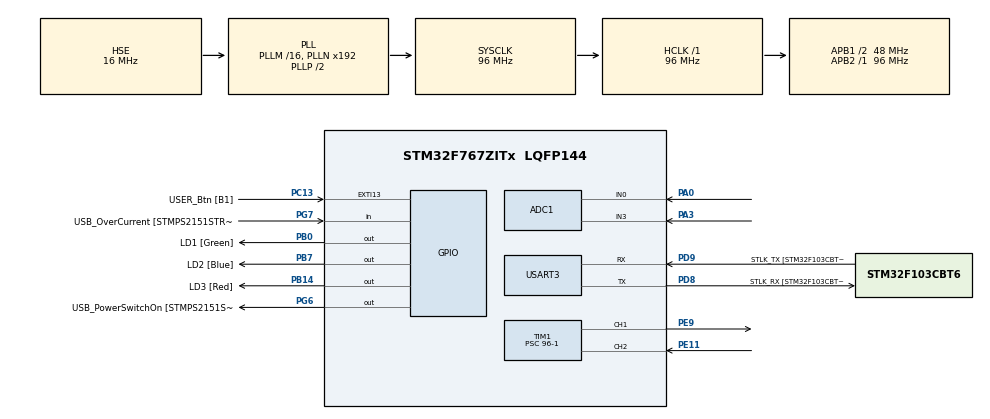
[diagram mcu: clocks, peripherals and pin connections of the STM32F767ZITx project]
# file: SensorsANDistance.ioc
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ADC1.Channel-0\#ChannelRegularConversion=ADC_CHANNEL_0
ADC1.Channel-2\#ChannelRegularConversion=ADC_CHANNEL_3
ADC1.ClockPrescaler=ADC_CLOCK_SYNC_PCLK_DIV4
ADC1.ContinuousConvMode=DISABLE
ADC1.NbrOfConversion=2
ADC1.NbrOfConversionFlag=1
ADC1.Rank-0\#ChannelRegularConversion=1
ADC1.Rank-2\#ChannelRegularConversion=2
ADC1.SamplingTime-0\#ChannelRegularConversion=ADC_SAMPLETIME_28CYCLES
ADC1.SamplingTime-2\#ChannelRegularConversion=ADC_SAMPLETIME_28CYCLES
ADC1.ScanConvMode=ADC_SCAN_ENABLE
ADC1.master=1
Mcu.Family=STM32F7
Mcu.Name=STM32F767ZITx
Mcu.Package=LQFP144
NVIC.ADC_IRQn=true\:0\:0\:false\:false\:true\:true\:true\:true
NVIC.EXTI15_10_IRQn=true\:0\:0\:false\:false\:true\:true\:true\:true
NVIC.PriorityGroup=NVIC_PRIORITYGROUP_4
NVIC.RCC_IRQn=true\:0\:0\:false\:false\:true\:true\:false\:true
NVIC.TIM1_CC_IRQn=true\:0\:0\:false\:false\:true\:true\:true\:true
NVIC.TIM1_TRG_COM_TIM11_IRQn=true\:0\:0\:false\:false\:true\:true\:true\:true
NVIC.TIM1_UP_TIM10_IRQn=true\:0\:0\:false\:false\:true\:true\:true\:true
NVIC.USART3_IRQn=true\:0\:0\:false\:false\:true\:true\:true\:true
PA0/WKUP.Signal=ADCx_IN0
PA1.GPIO_Label=RMII_REF_CLK [LAN8742A-CZ-TR_REFCLK0]
PA1.Signal=ETH_REF_CLK
PA10.GPIO_Label=USB_ID
PA10.Signal=USB_OTG_FS_ID
PA11.GPIO_Label=USB_DM
PA11.Signal=USB_OTG_FS_DM
PA12.GPIO_Label=USB_DP
PA12.Signal=USB_OTG_FS_DP
PA13.GPIO_Label=TMS
PA13.Signal=SYS_JTMS-SWDIO
PA14.GPIO_Label=TCK
PA14.Signal=SYS_JTCK-SWCLK
PA2.GPIO_Label=RMII_MDIO [LAN8742A-CZ-TR_MDIO]
PA2.Signal=ETH_MDIO
PA3.Signal=ADCx_IN3
PA7.GPIO_Label=RMII_CRS_DV [LAN8742A-CZ-TR_CRS_DV]
PA7.Signal=ETH_CRS_DV
PA8.GPIO_Label=USB_SOF [TP1]
PA8.Signal=USB_OTG_FS_SOF
PA9.GPIO_Label=USB_VBUS
PA9.Signal=USB_OTG_FS_VBUS
PB0.GPIO_Label=LD1 [Green]
PB0.Signal=GPIO_Output
PB13.GPIO_Label=RMII_TXD1 [LAN8742A-CZ-TR_TXD1]
PB13.Signal=ETH_TXD1
PB14.GPIO_Label=LD3 [Red]
PB14.Signal=GPIO_Output
PB3.GPIO_Label=SW0
PB3.Signal=SYS_JTDO-SWO
PB7.GPIO_Label=LD2 [Blue]
PB7.Signal=GPIO_Output
PC1.GPIO_Label=RMII_MDC [LAN8742A-CZ-TR_MDC]
PC1.Signal=ETH_MDC
PC13.GPIO_Label=USER_Btn [B1]
PC13.Signal=GPXTI13
PC14/OSC32_IN.Signal=RCC_OSC32_IN
PC15/OSC32_OUT.Signal=RCC_OSC32_OUT
PC4.GPIO_Label=RMII_RXD0 [LAN8742A-CZ-TR_RXD0]
PC4.Signal=ETH_RXD0
PC5.GPIO_Label=RMII_RXD1 [LAN8742A-CZ-TR_RXD1]
PC5.Signal=ETH_RXD1
PD8.GPIO_Label=STLK_RX [STM32F103CBT6_PA3]
PD8.Mode=Asynchronous
PD8.Signal=USART3_TX
PD9.GPIO_Label=STLK_TX [STM32F103CBT6_PA2]
PD9.Mode=Asynchronous
PD9.Signal=USART3_RX
PE11.Signal=S_TIM1_CH2
PE9.Signal=S_TIM1_CH1
PG11.GPIO_Label=RMII_TX_EN [LAN8742A-CZ-TR_TXEN]
PG11.Signal=ETH_TX_EN
PG13.GPIO_Label=RMII_TXD0 [LAN8742A-CZ-TR_TXD0]
PG13.Signal=ETH_TXD0
PG6.GPIO_Label=USB_PowerSwitchOn [STMPS2151STR_EN]
PG6.Signal=GPIO_Output
PG7.GPIO_Label=USB_OverCurrent [STMPS2151STR_FAULT]
PG7.Signal=GPIO_Input
PH0/OSC_IN.GPIO_Label=MCO [STM32F103CBT6_PA8]
PH0/OSC_IN.Mode=HSE-External-Oscillator
PH0/OSC_IN.Signal=RCC_OSC_IN
PH1/OSC_OUT.Mode=HSE-External-Oscillator
PH1/OSC_OUT.Signal=RCC_OSC_OUT
ProjectManager.HeapSize=0x200
ProjectManager.StackSize=0x400
ProjectManager.TargetToolchain=STM32CubeIDE
RCC.48MHZClocksFreq_Value=24000000
RCC.AHBFreq_Value=96000000
RCC.APB1CLKDivider=RCC_HCLK_DIV2
RCC.APB1Freq_Value=48000000
RCC.APB1TimFreq_Value=96000000
RCC.APB2Freq_Value=96000000
RCC.APB2TimFreq_Value=96000000
RCC.CortexFreq_Value=96000000
RCC.HCLKFreq_Value=96000000
RCC.HSE_VALUE=16000000
RCC.HSI_VALUE=16000000
RCC.LSE_VALUE=32768
RCC.PLLMUL=RCC_PLL_MUL9
RCC.PLLSourceVirtual=RCC_PLLSOURCE_HSE
RCC.PRESCALERUSB=RCC_USBCLKSOURCE_PLL_DIV1_5
RCC.SYSCLKFreq_VALUE=96000000
RCC.SYSCLKSource=RCC_SYSCLKSOURCE_PLLCLK
RCC.SYSCLKSourceVirtual=RCC_SYSCLKSOURCE_PLLCLK
RCC.USBFreq_Value=96000000
RCC.VCOOutputFreq_Value=192000000
SH.ADCx_IN0.0=ADC1_IN0,IN0
SH.ADCx_IN3.0=ADC1_IN3,IN3
SH.S_TIM1_CH1.0=TIM1_CH1,Output Compare1 CH1
SH.S_TIM1_CH2.0=TIM1_CH2,TriggerSource_TI2FP2
TIM1.Channel-Output\ Compare1\ CH1=TIM_CHANNEL_1
TIM1.Period=24000-1
TIM1.Prescaler=96-1
TIM1.Pulse-Output\ Compare1\ CH1=10000-1
USART3.VirtualMode-Asynchronous=VM_ASYNC
VP_TIM1_VS_ControllerModeTrigger.Mode=Trigger Mode
VP_TIM1_VS_OPM.Mode=OPM_bit
board=NUCLEO-F767ZI

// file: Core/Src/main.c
/* USER CODE BEGIN Header */
/**
  ******************************************************************************
  * @file           : main.c
  * @brief          : Main program body
  ******************************************************************************
  * @attention
  *
  * Copyright (c) 2025 STMicroelectronics.
  * All rights reserved.
  *
  * This software is licensed under terms that can be found in the LICENSE file
  * in the root directory of this software component.
  * If no LICENSE file comes with this software, it is provided AS-IS.
  *
  ******************************************************************************
  */
/* USER CODE END Header */
#include "main.h"

/* USER CODE BEGIN Includes */
#include <stdio.h>
#include <string.h>

/* USER CODE END Includes */

ADC_HandleTypeDef hadc1;

TIM_HandleTypeDef htim1;

UART_HandleTypeDef huart3;

void SystemClock_Config(void);
static void MX_GPIO_Init(void);
static void MX_ADC1_Init(void);
static void MX_USART3_UART_Init(void);
static void MX_TIM1_Init(void);

/* USER CODE BEGIN 0 */
int sensor_distances[2] = {0};
int acc_distances[2] = {0};
char Tx_msg[128] = {0};

uint16_t ADC_Convert_CHANNEL_0(){
	ADC_ChannelConfTypeDef sConfig = {0};
	sConfig.Channel = ADC_CHANNEL_0;
	// All channels correspond to RANK 1 because we can only convert 1 channel at a time
	sConfig.Rank = ADC_REGULAR_RANK_1;
	sConfig.SamplingTime = ADC_SAMPLETIME_3CYCLES;
	sConfig.Offset = 0;
	if (HAL_ADC_ConfigChannel(&hadc1, &sConfig) != HAL_OK)
	{
		Error_Handler();
	}

	HAL_ADC_Start(&hadc1);
	HAL_ADC_PollForConversion(&hadc1, HAL_MAX_DELAY);
	uint16_t adc_ch0_val = HAL_ADC_GetValue(&hadc1);
	HAL_ADC_Stop(&hadc1);
	return adc_ch0_val;
}

uint16_t ADC_Convert_CHANNEL_3(){
	ADC_ChannelConfTypeDef sConfig = {0};
	sConfig.Channel = ADC_CHANNEL_3;
	sConfig.Rank = ADC_REGULAR_RANK_1;
	sConfig.SamplingTime = ADC_SAMPLETIME_3CYCLES;
	sConfig.Offset = 0;
	if (HAL_ADC_ConfigChannel(&hadc1, &sConfig) != HAL_OK)
	{
		Error_Handler();
	}

	HAL_ADC_Start(&hadc1);
	HAL_ADC_PollForConversion(&hadc1, HAL_MAX_DELAY);
	uint16_t adc_ch3_val = HAL_ADC_GetValue(&hadc1);
	HAL_ADC_Stop(&hadc1);
	return adc_ch3_val;
}

/* USER CODE END 0 */

int main(void)
{

  /* MCU Configuration--------------------------------------------------------*/

  /* Reset of all peripherals, Initializes the Flash interface and the Systick. */
  HAL_Init();

  /* Configure the system clock */
  SystemClock_Config();

  /* Initialize all configured peripherals */
  MX_GPIO_Init();
  MX_ADC1_Init();
  MX_USART3_UART_Init();
  MX_TIM1_Init();
  /* USER CODE BEGIN 2 */

  HAL_TIM_OnePulse_Start(&htim1, TIM_CHANNEL_1);
  /* USER CODE END 2 */

  /* Infinite loop */
  while (1)
  {

    /* USER CODE BEGIN 3 */
	  sensor_distances[0] = ADC_Convert_CHANNEL_0(); //* (2.4892f / 3294.0f) * (1.0f / 0.098f);
	  sensor_distances[1] = ADC_Convert_CHANNEL_3(); //* (2.4892f / 3294.0f) * (1.0f / 0.098f);
	  sprintf(Tx_msg, "Sensor 1 reports %d inches, Sensor 2 reports %d inches\n\r", sensor_distances[0], sensor_distances[1]);
	  HAL_UART_Transmit(&huart3, (uint8_t*)Tx_msg, strlen(Tx_msg)+1, HAL_MAX_DELAY);
	  HAL_Delay(500);
  }
  /* USER CODE END 3 */
}

void SystemClock_Config(void)
{
  RCC_OscInitTypeDef RCC_OscInitStruct = {0};
  RCC_ClkInitTypeDef RCC_ClkInitStruct = {0};

  /** Configure the main internal regulator output voltage
  */
  __HAL_RCC_PWR_CLK_ENABLE();
  __HAL_PWR_VOLTAGESCALING_CONFIG(PWR_REGULATOR_VOLTAGE_SCALE3);

  /** Initializes the RCC Oscillators according to the specified parameters
  * in the RCC_OscInitTypeDef structure.
  */
  RCC_OscInitStruct.OscillatorType = RCC_OSCILLATORTYPE_HSE;
  RCC_OscInitStruct.HSEState = RCC_HSE_ON;
  RCC_OscInitStruct.PLL.PLLState = RCC_PLL_ON;
  RCC_OscInitStruct.PLL.PLLSource = RCC_PLLSOURCE_HSE;
  RCC_OscInitStruct.PLL.PLLM = 16;
  RCC_OscInitStruct.PLL.PLLN = 192;
  RCC_OscInitStruct.PLL.PLLP = RCC_PLLP_DIV2;
  RCC_OscInitStruct.PLL.PLLQ = 2;
  RCC_OscInitStruct.PLL.PLLR = 2;
  if (HAL_RCC_OscConfig(&RCC_OscInitStruct) != HAL_OK)
  {
    Error_Handler();
  }

  /** Activate the Over-Drive mode
  */
  if (HAL_PWREx_EnableOverDrive() != HAL_OK)
  {
    Error_Handler();
  }

  /** Initializes the CPU, AHB and APB buses clocks
  */
  RCC_ClkInitStruct.ClockType = RCC_CLOCKTYPE_HCLK|RCC_CLOCKTYPE_SYSCLK
                              |RCC_CLOCKTYPE_PCLK1|RCC_CLOCKTYPE_PCLK2;
  RCC_ClkInitStruct.SYSCLKSource = RCC_SYSCLKSOURCE_PLLCLK;
  RCC_ClkInitStruct.AHBCLKDivider = RCC_SYSCLK_DIV1;
  RCC_ClkInitStruct.APB1CLKDivider = RCC_HCLK_DIV2;
  RCC_ClkInitStruct.APB2CLKDivider = RCC_HCLK_DIV1;

  if (HAL_RCC_ClockConfig(&RCC_ClkInitStruct, FLASH_LATENCY_3) != HAL_OK)
  {
    Error_Handler();
  }
}

static void MX_ADC1_Init(void)
{

  ADC_ChannelConfTypeDef sConfig = {0};

  /** Configure the global features of the ADC (Clock, Resolution, Data Alignment and number of conversion)
  */
  hadc1.Instance = ADC1;
  hadc1.Init.ClockPrescaler = ADC_CLOCK_SYNC_PCLK_DIV4;
  hadc1.Init.Resolution = ADC_RESOLUTION_12B;
  hadc1.Init.ScanConvMode = ADC_SCAN_ENABLE;
  hadc1.Init.ContinuousConvMode = DISABLE;
  hadc1.Init.DiscontinuousConvMode = DISABLE;
  hadc1.Init.ExternalTrigConvEdge = ADC_EXTERNALTRIGCONVEDGE_NONE;
  hadc1.Init.ExternalTrigConv = ADC_SOFTWARE_START;
  hadc1.Init.DataAlign = ADC_DATAALIGN_RIGHT;
  hadc1.Init.NbrOfConversion = 2;
  hadc1.Init.DMAContinuousRequests = DISABLE;
  hadc1.Init.EOCSelection = ADC_EOC_SINGLE_CONV;
  if (HAL_ADC_Init(&hadc1) != HAL_OK)
  {
    Error_Handler();
  }

  /** Configure for the selected ADC regular channel its corresponding rank in the sequencer and its sample time.
  */
  sConfig.Channel = ADC_CHANNEL_0;
  sConfig.Rank = ADC_REGULAR_RANK_1;
  sConfig.SamplingTime = ADC_SAMPLETIME_28CYCLES;
  if (HAL_ADC_ConfigChannel(&hadc1, &sConfig) != HAL_OK)
  {
    Error_Handler();
  }

  /** Configure for the selected ADC regular channel its corresponding rank in the sequencer and its sample time.
  */
  sConfig.Channel = ADC_CHANNEL_3;
  sConfig.Rank = ADC_REGULAR_RANK_2;
  if (HAL_ADC_ConfigChannel(&hadc1, &sConfig) != HAL_OK)
  {
    Error_Handler();
  }

}

static void MX_TIM1_Init(void)
{

  TIM_SlaveConfigTypeDef sSlaveConfig = {0};
  TIM_MasterConfigTypeDef sMasterConfig = {0};
  TIM_OC_InitTypeDef sConfigOC = {0};
  TIM_BreakDeadTimeConfigTypeDef sBreakDeadTimeConfig = {0};

  htim1.Instance = TIM1;
  htim1.Init.Prescaler = 96-1;
  htim1.Init.CounterMode = TIM_COUNTERMODE_UP;
  htim1.Init.Period = 24000-1;
  htim1.Init.ClockDivision = TIM_CLOCKDIVISION_DIV1;
  htim1.Init.RepetitionCounter = 0;
  htim1.Init.AutoReloadPreload = TIM_AUTORELOAD_PRELOAD_DISABLE;
  if (HAL_TIM_Base_Init(&htim1) != HAL_OK)
  {
    Error_Handler();
  }
  if (HAL_TIM_OC_Init(&htim1) != HAL_OK)
  {
    Error_Handler();
  }
  if (HAL_TIM_OnePulse_Init(&htim1, TIM_OPMODE_SINGLE) != HAL_OK)
  {
    Error_Handler();
  }
  sSlaveConfig.SlaveMode = TIM_SLAVEMODE_TRIGGER;
  sSlaveConfig.InputTrigger = TIM_TS_TI2FP2;
  sSlaveConfig.TriggerPolarity = TIM_TRIGGERPOLARITY_RISING;
  sSlaveConfig.TriggerFilter = 0;
  if (HAL_TIM_SlaveConfigSynchro(&htim1, &sSlaveConfig) != HAL_OK)
  {
    Error_Handler();
  }
  sMasterConfig.MasterOutputTrigger = TIM_TRGO_RESET;
  sMasterConfig.MasterOutputTrigger2 = TIM_TRGO2_RESET;
  sMasterConfig.MasterSlaveMode = TIM_MASTERSLAVEMODE_DISABLE;
  if (HAL_TIMEx_MasterConfigSynchronization(&htim1, &sMasterConfig) != HAL_OK)
  {
    Error_Handler();
  }
  sConfigOC.OCMode = TIM_OCMODE_PWM2;
  sConfigOC.Pulse = 10000-1;
  sConfigOC.OCPolarity = TIM_OCPOLARITY_HIGH;
  sConfigOC.OCNPolarity = TIM_OCNPOLARITY_HIGH;
  sConfigOC.OCFastMode = TIM_OCFAST_DISABLE;
  sConfigOC.OCIdleState = TIM_OCIDLESTATE_RESET;
  sConfigOC.OCNIdleState = TIM_OCNIDLESTATE_RESET;
  if (HAL_TIM_OC_ConfigChannel(&htim1, &sConfigOC, TIM_CHANNEL_1) != HAL_OK)
  {
    Error_Handler();
  }
  sBreakDeadTimeConfig.OffStateRunMode = TIM_OSSR_DISABLE;
  sBreakDeadTimeConfig.OffStateIDLEMode = TIM_OSSI_DISABLE;
  sBreakDeadTimeConfig.LockLevel = TIM_LOCKLEVEL_OFF;
  sBreakDeadTimeConfig.DeadTime = 0;
  sBreakDeadTimeConfig.BreakState = TIM_BREAK_DISABLE;
  sBreakDeadTimeConfig.BreakPolarity = TIM_BREAKPOLARITY_HIGH;
  sBreakDeadTimeConfig.BreakFilter = 0;
  sBreakDeadTimeConfig.Break2State = TIM_BREAK2_DISABLE;
  sBreakDeadTimeConfig.Break2Polarity = TIM_BREAK2POLARITY_HIGH;
  sBreakDeadTimeConfig.Break2Filter = 0;
  sBreakDeadTimeConfig.AutomaticOutput = TIM_AUTOMATICOUTPUT_DISABLE;
  if (HAL_TIMEx_ConfigBreakDeadTime(&htim1, &sBreakDeadTimeConfig) != HAL_OK)
  {
    Error_Handler();
  }
  HAL_TIM_MspPostInit(&htim1);

}

static void MX_USART3_UART_Init(void)
{

  huart3.Instance = USART3;
  huart3.Init.BaudRate = 115200;
  huart3.Init.WordLength = UART_WORDLENGTH_8B;
  huart3.Init.StopBits = UART_STOPBITS_1;
  huart3.Init.Parity = UART_PARITY_NONE;
  huart3.Init.Mode = UART_MODE_TX_RX;
  huart3.Init.HwFlowCtl = UART_HWCONTROL_NONE;
  huart3.Init.OverSampling = UART_OVERSAMPLING_16;
  huart3.Init.OneBitSampling = UART_ONE_BIT_SAMPLE_DISABLE;
  huart3.AdvancedInit.AdvFeatureInit = UART_ADVFEATURE_NO_INIT;
  if (HAL_UART_Init(&huart3) != HAL_OK)
  {
    Error_Handler();
  }

}

static void MX_GPIO_Init(void)
{
  GPIO_InitTypeDef GPIO_InitStruct = {0};

  /* GPIO Ports Clock Enable */
  __HAL_RCC_GPIOC_CLK_ENABLE();
  __HAL_RCC_GPIOH_CLK_ENABLE();
  __HAL_RCC_GPIOA_CLK_ENABLE();
  __HAL_RCC_GPIOB_CLK_ENABLE();
  __HAL_RCC_GPIOE_CLK_ENABLE();
  __HAL_RCC_GPIOD_CLK_ENABLE();
  __HAL_RCC_GPIOG_CLK_ENABLE();

  /*Configure GPIO pin Output Level */
  HAL_GPIO_WritePin(GPIOB, LD1_Pin|LD3_Pin|LD2_Pin, GPIO_PIN_RESET);

  /*Configure GPIO pin Output Level */
  HAL_GPIO_WritePin(USB_PowerSwitchOn_GPIO_Port, USB_PowerSwitchOn_Pin, GPIO_PIN_RESET);

  /*Configure GPIO pin : USER_Btn_Pin */
  GPIO_InitStruct.Pin = USER_Btn_Pin;
  GPIO_InitStruct.Mode = GPIO_MODE_IT_RISING;
  GPIO_InitStruct.Pull = GPIO_NOPULL;
  HAL_GPIO_Init(USER_Btn_GPIO_Port, &GPIO_InitStruct);

  /*Configure GPIO pins : RMII_MDC_Pin RMII_RXD0_Pin RMII_RXD1_Pin */
  GPIO_InitStruct.Pin = RMII_MDC_Pin|RMII_RXD0_Pin|RMII_RXD1_Pin;
  GPIO_InitStruct.Mode = GPIO_MODE_AF_PP;
  GPIO_InitStruct.Pull = GPIO_NOPULL;
  GPIO_InitStruct.Speed = GPIO_SPEED_FREQ_VERY_HIGH;
  GPIO_InitStruct.Alternate = GPIO_AF11_ETH;
  HAL_GPIO_Init(GPIOC, &GPIO_InitStruct);

  /*Configure GPIO pins : RMII_REF_CLK_Pin RMII_MDIO_Pin RMII_CRS_DV_Pin */
  GPIO_InitStruct.Pin = RMII_REF_CLK_Pin|RMII_MDIO_Pin|RMII_CRS_DV_Pin;
  GPIO_InitStruct.Mode = GPIO_MODE_AF_PP;
  GPIO_InitStruct.Pull = GPIO_NOPULL;
  GPIO_InitStruct.Speed = GPIO_SPEED_FREQ_VERY_HIGH;
  GPIO_InitStruct.Alternate = GPIO_AF11_ETH;
  HAL_GPIO_Init(GPIOA, &GPIO_InitStruct);

  /*Configure GPIO pins : LD1_Pin LD3_Pin LD2_Pin */
  GPIO_InitStruct.Pin = LD1_Pin|LD3_Pin|LD2_Pin;
  GPIO_InitStruct.Mode = GPIO_MODE_OUTPUT_PP;
  GPIO_InitStruct.Pull = GPIO_NOPULL;
  GPIO_InitStruct.Speed = GPIO_SPEED_FREQ_LOW;
  HAL_GPIO_Init(GPIOB, &GPIO_InitStruct);

  /*Configure GPIO pin : RMII_TXD1_Pin */
  GPIO_InitStruct.Pin = RMII_TXD1_Pin;
  GPIO_InitStruct.Mode = GPIO_MODE_AF_PP;
  GPIO_InitStruct.Pull = GPIO_NOPULL;
  GPIO_InitStruct.Speed = GPIO_SPEED_FREQ_VERY_HIGH;
  GPIO_InitStruct.Alternate = GPIO_AF11_ETH;
  HAL_GPIO_Init(RMII_TXD1_GPIO_Port, &GPIO_InitStruct);

  /*Configure GPIO pin : USB_PowerSwitchOn_Pin */
  GPIO_InitStruct.Pin = USB_PowerSwitchOn_Pin;
  GPIO_InitStruct.Mode = GPIO_MODE_OUTPUT_PP;
  GPIO_InitStruct.Pull = GPIO_NOPULL;
  GPIO_InitStruct.Speed = GPIO_SPEED_FREQ_LOW;
  HAL_GPIO_Init(USB_PowerSwitchOn_GPIO_Port, &GPIO_InitStruct);

  /*Configure GPIO pin : USB_OverCurrent_Pin */
  GPIO_InitStruct.Pin = USB_OverCurrent_Pin;
  GPIO_InitStruct.Mode = GPIO_MODE_INPUT;
  GPIO_InitStruct.Pull = GPIO_NOPULL;
  HAL_GPIO_Init(USB_OverCurrent_GPIO_Port, &GPIO_InitStruct);

  /*Configure GPIO pins : USB_SOF_Pin USB_ID_Pin USB_DM_Pin USB_DP_Pin */
  GPIO_InitStruct.Pin = USB_SOF_Pin|USB_ID_Pin|USB_DM_Pin|USB_DP_Pin;
  GPIO_InitStruct.Mode = GPIO_MODE_AF_PP;
  GPIO_InitStruct.Pull = GPIO_NOPULL;
  GPIO_InitStruct.Speed = GPIO_SPEED_FREQ_VERY_HIGH;
  GPIO_InitStruct.Alternate = GPIO_AF10_OTG_FS;
  HAL_GPIO_Init(GPIOA, &GPIO_InitStruct);

  /*Configure GPIO pin : USB_VBUS_Pin */
  GPIO_InitStruct.Pin = USB_VBUS_Pin;
  GPIO_InitStruct.Mode = GPIO_MODE_INPUT;
  GPIO_InitStruct.Pull = GPIO_NOPULL;
  HAL_GPIO_Init(USB_VBUS_GPIO_Port, &GPIO_InitStruct);

  /*Configure GPIO pins : RMII_TX_EN_Pin RMII_TXD0_Pin */
  GPIO_InitStruct.Pin = RMII_TX_EN_Pin|RMII_TXD0_Pin;
  GPIO_InitStruct.Mode = GPIO_MODE_AF_PP;
  GPIO_InitStruct.Pull = GPIO_NOPULL;
  GPIO_InitStruct.Speed = GPIO_SPEED_FREQ_VERY_HIGH;
  GPIO_InitStruct.Alternate = GPIO_AF11_ETH;
  HAL_GPIO_Init(GPIOG, &GPIO_InitStruct);

  /* EXTI interrupt init*/
  HAL_NVIC_SetPriority(EXTI15_10_IRQn, 0, 0);
  HAL_NVIC_EnableIRQ(EXTI15_10_IRQn);

}

void Error_Handler(void)
{
  __disable_irq();
  while (1)
  {
  }
}
